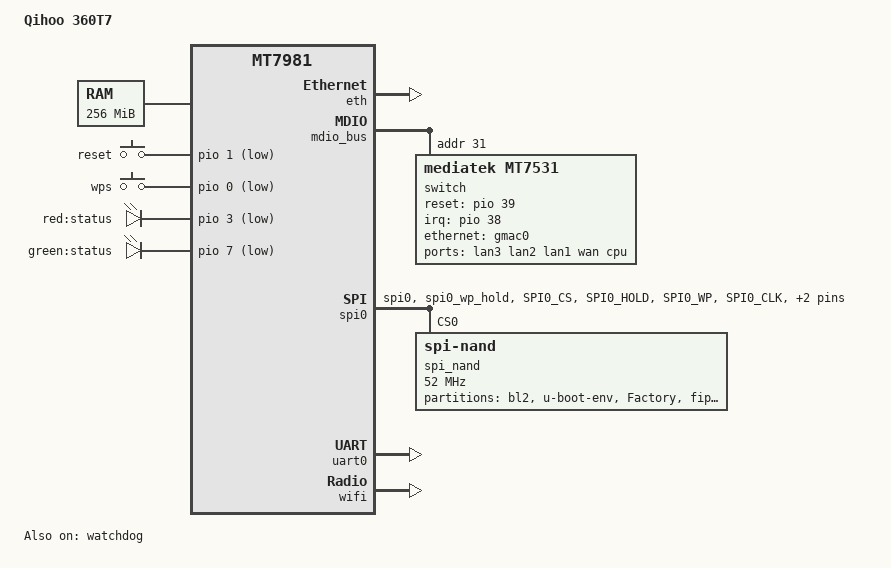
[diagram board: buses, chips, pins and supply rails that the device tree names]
// SPDX-License-Identifier: GPL-2.0-or-later OR MIT

/dts-v1/;
#include <dt-bindings/gpio/gpio.h>
#include <dt-bindings/input/input.h>

#include "mt7981.dtsi"

/ {
	model = "Qihoo 360T7";
	compatible = "qihoo,360t7", "mediatek,mt7981";

	aliases {
		serial0 = &uart0;

		led-boot = &led_status_red;
		led-failsafe = &led_status_red;
		led-running = &led_status_green;
		led-upgrade = &led_status_green;
	};

	chosen {
		stdout-path = "serial0:115200n8";
	};

	memory {
		reg = <0 0x40000000 0 0x10000000>;
	};

	gpio-keys {
		compatible = "gpio-keys";

		reset {
			label = "reset";
			linux,code = <KEY_RESTART>;
			gpios = <&pio 1 GPIO_ACTIVE_LOW>;
		};

		wps {
			label = "wps";
			linux,code = <KEY_WPS_BUTTON>;
			gpios = <&pio 0 GPIO_ACTIVE_LOW>;
		};
	};

	leds {
		compatible = "gpio-leds";

		led_status_red: red {
			label = "red:status";
			gpios = <&pio 3 GPIO_ACTIVE_LOW>;
		};

		led_status_green: green {
			label = "green:status";
			gpios = <&pio 7 GPIO_ACTIVE_LOW>;
		};
	};
};

&eth {
	status = "okay";

	gmac0: mac@0 {
		compatible = "mediatek,eth-mac";
		reg = <0>;
		phy-mode = "2500base-x";

		fixed-link {
			speed = <2500>;
			full-duplex;
			pause;
		};
	};
};

&mdio_bus {
	switch: switch@0 {
		compatible = "mediatek,mt7531";
		reg = <31>;
		reset-gpios = <&pio 39 GPIO_ACTIVE_HIGH>;
		interrupt-controller;
		#interrupt-cells = <1>;
		interrupt-parent = <&pio>;
		interrupts = <38 IRQ_TYPE_LEVEL_HIGH>;
	};
};

&spi0 {
	pinctrl-names = "default";
	pinctrl-0 = <&spi0_flash_pins>;
	status = "okay";

	spi_nand@0 {
		compatible = "spi-nand";
		#address-cells = <1>;
		#size-cells = <1>;
		reg = <0>;

		spi-max-frequency = <52000000>;
		spi-tx-buswidth = <4>;
		spi-rx-buswidth = <4>;

		mediatek,nmbm;
		mediatek,bmt-max-ratio = <1>;
		mediatek,bmt-max-reserved-blocks = <64>;

		partitions {
			compatible = "fixed-partitions";
			#address-cells = <1>;
			#size-cells = <1>;

			partition@0 {
				label = "bl2";
				reg = <0x0000000 0x0100000>;
				read-only;
			};

			partition@100000 {
				label = "u-boot-env";
				reg = <0x0100000 0x0080000>;
			};

			factory: partition@180000 {
				label = "Factory";
				reg = <0x0180000 0x0200000>;
				read-only;
			};

			partition@380000 {
				label = "fip";
				reg = <0x0380000 0x0200000>;
				read-only;
			};

			partition@580000 {
				label = "ubi";
				reg = <0x0580000 0x6c00000>;
			};

			partition@7180000 {
				label = "config";
				reg = <0x7180000 0x0100000>;
				read-only;
			};

			partition@7280000 {
				label = "factory";
				reg = <0x7280000 0x0080000>;
				read-only;
			};

			partition@7300000 {
				label = "log";
				reg = <0x7300000 0x0700000>;
				read-only;
			};
		};
	};
};

&switch {
	ports {
		#address-cells = <1>;
		#size-cells = <0>;

		port@0 {
			reg = <0>;
			label = "lan3";
		};

		port@1 {
			reg = <1>;
			label = "lan2";
		};

		port@2 {
			reg = <2>;
			label = "lan1";
		};

		port@3 {
			reg = <3>;
			label = "wan";
		};

		port@6 {
			reg = <6>;
			label = "cpu";
			ethernet = <&gmac0>;
			phy-mode = "2500base-x";

			fixed-link {
				speed = <2500>;
				full-duplex;
				pause;
			};
		};
	};
};

&pio {
	spi0_flash_pins: spi0-pins {
		mux {
			function = "spi";
			groups = "spi0", "spi0_wp_hold";
		};

		conf-pu {
			pins = "SPI0_CS", "SPI0_HOLD", "SPI0_WP";
			drive-strength = <8>;
			mediatek,pull-up-adv = <0>; /* bias-disable */
		};

		conf-pd {
			pins = "SPI0_CLK", "SPI0_MOSI", "SPI0_MISO";
			drive-strength = <8>;
			mediatek,pull-up-adv = <0>; /* bias-disable */
		};
	};
};

&uart0 {
	status = "okay";
};

&watchdog {
	status = "okay";
};

&wifi {
	status = "okay";

	mediatek,mtd-eeprom = <&factory 0x0>;
};
